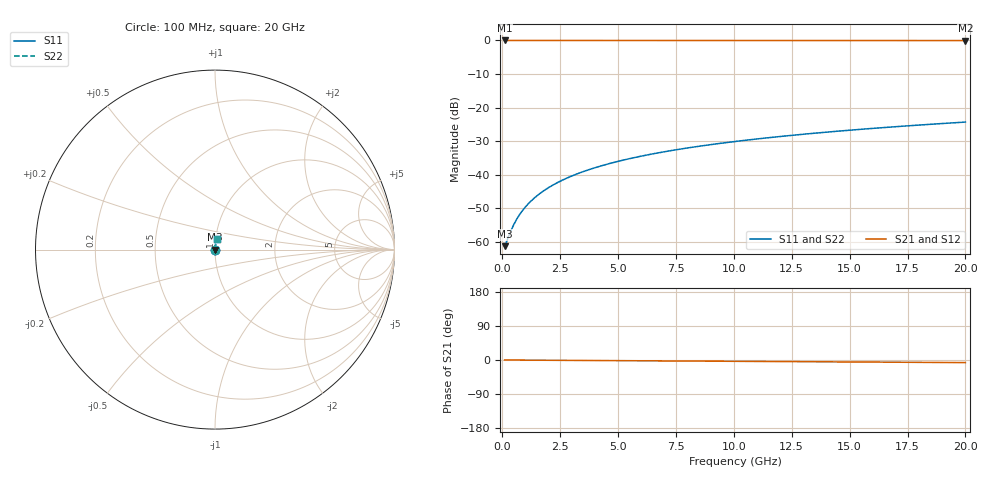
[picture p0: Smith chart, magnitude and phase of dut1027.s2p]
! Touchstone file exported from HFSS 2026.1.0
!  File:  C:/ffzhzh/LocalFiles/Ansys_Project_Files/temp_train_TSV_1027_1783188970_43440.aedt
!  Generated:  02:18:27 AM Jul  5, 2026
!  Design:  TSV
!  Project:  temp_train_TSV_1027_1783188970_43440
! Variables:
!  h_bsmrdl = 2um
!  h_ox = 20um
!  h_rdl = 5um
!  h_sub = 58.31um
!  h_tmrdl = 5um
!  h_tsv = 58.31um
!  h_via = 3um
!  l_bsmrdl = 300um
!  l_sub = 405.9um
!  l_tmrdl = 200um
!  m_sub = 200um
!  pitch = 28.35um
!  r_tsv = 2.95um
!  s_tmrdl = 10um
!  w_bsmrdl = 18um
!  w_sub = 500um
!  w_tmrdl = 12um
!  x_tsv_center1 = 206um
!  x_tsv_center2 = 524um
!  x_tsv_center3 = 736um
!  x_tsv_center4 = 1054um
!  x_tsv_center5 = 1266um
!  x_tsv_center6 = 1584um
# GHz S MA R 50.000000
! Terminal data exported
! Port[1] = TSV1_1_T1
! Port[2] = TSV1_1_T2
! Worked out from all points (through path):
!   200 points, 100 MHz to 20 GHz, reference 50 ohm
!   highest |S21| = -0.01 dB at 100 MHz (marker M1); lowest = 0.0 dB at 20 GHz (marker M2)
!   lowest |S11| = -61.3 dB at 100 MHz (marker M3), VSWR 1.00, Z = 50.1 + j0.0331 ohm
!   |S11| at or under -10 dB: start of sweep to end of sweep
!   |S22| runs from -61.3 to -24.3 dB; largest |S21 - S12| = 1.2e-15
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0.1  0.0008652 22.5  0.9992 -0.0  0.9992 -0.0  0.0008652 22.5
! Gamma 0 0 0 0
! Port Impedance 50 0 50 0
0.4  0.001543 57.6  0.9992 -0.1  0.9992 -0.1  0.001543 57.6
0.5  0.001824 62.7  0.9992 -0.2  0.9992 -0.2  0.001824 62.7
0.6  0.002114 66.4  0.9992 -0.2  0.9992 -0.2  0.002114 66.4
0.7  0.002411 69.2  0.9992 -0.2  0.9992 -0.2  0.002411 69.2
0.9  0.003016 73.2  0.9991 -0.3  0.9991 -0.3  0.003016 73.2
1.1  0.003631 75.8  0.9991 -0.4  0.9991 -0.4  0.003631 75.8
1.3  0.004251 77.7  0.9991 -0.5  0.9991 -0.5  0.004251 77.7
1.7  0.005501 80.0  0.9991 -0.6  0.9991 -0.6  0.005501 80.0
2.2  0.007072 81.7  0.9991 -0.8  0.9991 -0.8  0.007072 81.7
2.8  0.00896 82.8  0.999 -1.0  0.999 -1.0  0.00896 82.8
3.5  0.01116 83.5  0.9989 -1.2  0.9989 -1.2  0.01116 83.5
4.2  0.01335 83.8  0.9988 -1.5  0.9988 -1.5  0.01335 83.8
5  0.01584 84.0  0.9987 -1.8  0.9987 -1.8  0.01584 84.0
5.9  0.01863 84.0  0.9985 -2.1  0.9985 -2.1  0.01863 84.0
6.8  0.02141 83.9  0.9984 -2.4  0.9984 -2.4  0.02141 83.9
8.3  0.02599 83.7  0.9981 -2.9  0.9981 -2.9  0.02599 83.7
10.1  0.03144 83.3  0.9977 -3.5  0.9977 -3.5  0.03144 83.3
11.7  0.03625 82.9  0.9974 -4.1  0.9974 -4.1  0.03625 82.9
13.4  0.04134 82.5  0.9971 -4.6  0.9971 -4.6  0.04134 82.5
16.7  0.05114 81.6  0.9963 -5.8  0.9963 -5.8  0.05114 81.6
20  0.06089 80.7  0.9956 -6.9  0.9956 -6.9  0.06089 80.7
